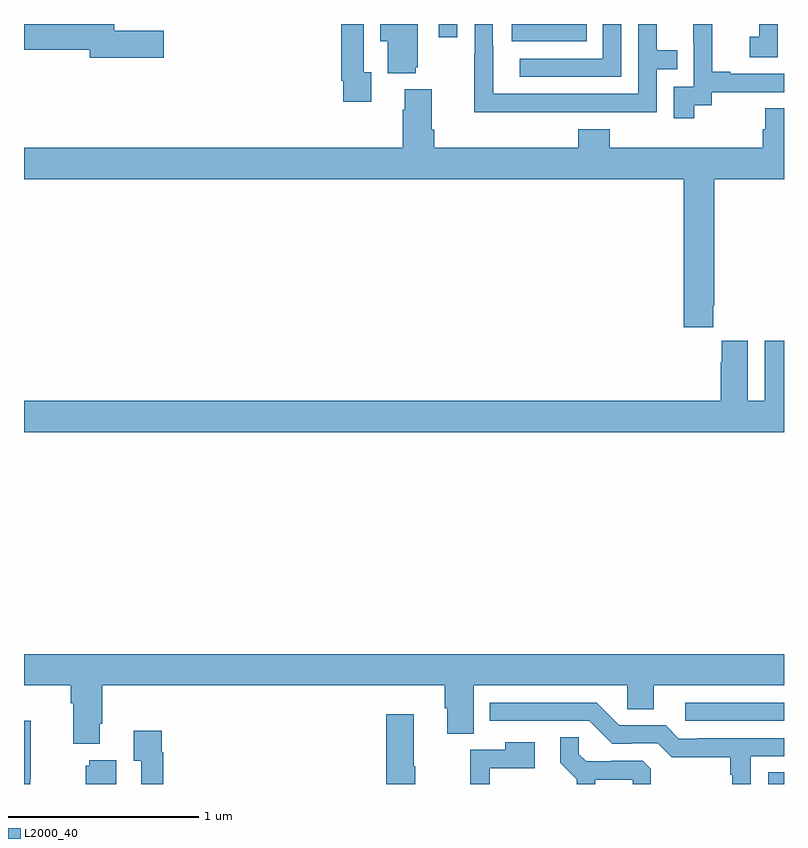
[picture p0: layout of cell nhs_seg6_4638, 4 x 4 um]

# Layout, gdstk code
import gdstk
lib = gdstk.Library(unit=1e-6, precision=1e-09)
def R(c, l, rs):  # rectangles x0, y0, x1, y1
    for r in rs: c.add(gdstk.rectangle(r[:2], r[2:], *l))
def P(c, l, *ps):  # polygons
    for p in ps: c.add(gdstk.Polygon(p, *l))
L2000_40 = (2000, 40)

nhs_seg6_4638 = lib.new_cell('nhs_seg6_4638')
R(nhs_seg6_4638, L2000_40, [(388.917,929.5,389,929.561), (388.479,929.832,389,929.928), (387.566,933.41,387.962,933.5), (387.183,933.429,387.279,933.5)])
P(nhs_seg6_4638, L2000_40, [(385.735,933.464),(385.474,933.464),(385.474,933.5),(385,933.5),(385,933.364),(385.346,933.364),(385.346,933.322),(385.735,933.322)],
  [(388.968,933.5),(388.87,933.5),(388.87,933.433),(388.821,933.433),(388.821,933.324),(388.968,933.324)],
  [(388.528,933.073),(388.62,933.073),(388.62,933.141),(389,933.141),(389,933.237),(388.717,933.237),(388.717,933.25),(388.622,933.25),(388.622,933.5),(388.523,933.5),(388.523,933.401),(388.524,933.401),(388.524,933.171),(388.419,933.171),(388.419,933.003),(388.528,933.003)],
  [(387.062,933.273),(387.073,933.273),(387.073,933.5),(386.876,933.5),(386.876,933.41),(386.915,933.41),(386.915,933.242),(387.062,933.242)],
  [(386.827,933.246),(386.787,933.246),(386.787,933.5),(386.671,933.5),(386.671,933.202),(386.679,933.202),(386.679,933.09),(386.827,933.09)],
  [(387.833,933.036),(388.329,933.036),(388.329,933.261),(388.439,933.261),(388.439,933.362),(388.329,933.362),(388.329,933.5),(388.233,933.5),(388.233,933.132),(387.469,933.132),(387.469,933.386),(387.468,933.386),(387.468,933.5),(387.372,933.5),(387.372,933.341),(387.37,933.341),(387.37,933.035),(387.833,933.035)],
  [(388.143,933.5),(388.047,933.5),(388.047,933.318),(387.609,933.318),(387.609,933.222),(388.143,933.222)],
  [(388.627,932.017),(388.632,932.017),(388.632,932.684),(389,932.684),(389,933.056),(388.901,933.056),(388.901,932.946),(388.889,932.946),(388.889,932.848),(388.082,932.848),(388.082,932.947),(387.917,932.947),(387.917,932.848),(387.158,932.848),(387.158,932.944),(387.145,932.944),(387.145,933.157),(387.005,933.157),(387.005,933.05),(386.993,933.05),(386.993,932.848),(385,932.848),(385,932.684),(388.472,932.684),(388.472,931.905),(388.627,931.905)],
  [(389,931.834),(388.898,931.834),(388.898,931.516),(388.81,931.516),(388.81,931.834),(388.673,931.834),(388.673,931.721),(388.667,931.721),(388.667,931.516),(385,931.516),(385,931.352),(389,931.352)],
  [(385.399,929.818),(385.412,929.818),(385.412,930.02),(387.215,930.02),(387.215,929.898),(387.227,929.898),(387.227,929.764),(387.367,929.764),(387.367,930.02),(388.176,930.02),(388.176,929.893),(388.315,929.893),(388.315,930.02),(389,930.02),(389,930.184),(385,930.184),(385,930.02),(385.247,930.02),(385.247,929.924),(385.259,929.924),(385.259,929.711),(385.399,929.711)],
  [(388.824,929.646),(389,929.646),(389,929.742),(388.546,929.742),(388.546,929.739),(388.446,929.739),(388.377,929.808),(388.134,929.808),(388.014,929.928),(387.452,929.928),(387.452,929.832),(387.975,929.832),(388.095,929.712),(388.196,929.712),(388.196,929.715),(388.335,929.715),(388.408,929.642),(388.716,929.642),(388.716,929.549),(388.728,929.549),(388.728,929.5),(388.824,929.5)],
  [(387.058,929.593),(387.052,929.593),(387.052,929.866),(386.906,929.866),(386.906,929.5),(387.058,929.5)],
  [(385.032,929.527),(385.035,929.527),(385.035,929.834),(385,929.834),(385,929.5),(385.032,929.5)],
  [(385.733,929.666),(385.726,929.666),(385.726,929.779),(385.577,929.779),(385.577,929.623),(385.617,929.623),(385.617,929.5),(385.733,929.5)],
  [(388.007,929.522),(388.204,929.522),(388.204,929.5),(388.298,929.5),(388.298,929.581),(388.257,929.622),(388.092,929.622),(388.092,929.619),(387.958,929.619),(387.921,929.656),(387.921,929.747),(387.823,929.747),(387.823,929.611),(387.909,929.525),(387.909,929.5),(388.007,929.5)],
  [(387.45,929.583),(387.688,929.583),(387.688,929.719),(387.532,929.719),(387.532,929.679),(387.349,929.679),(387.349,929.5),(387.45,929.5)],
  [(385.486,929.626),(385.343,929.626),(385.343,929.595),(385.325,929.595),(385.325,929.5),(385.486,929.5)])

lib.write_gds('nhs_seg6_4638.gds')
